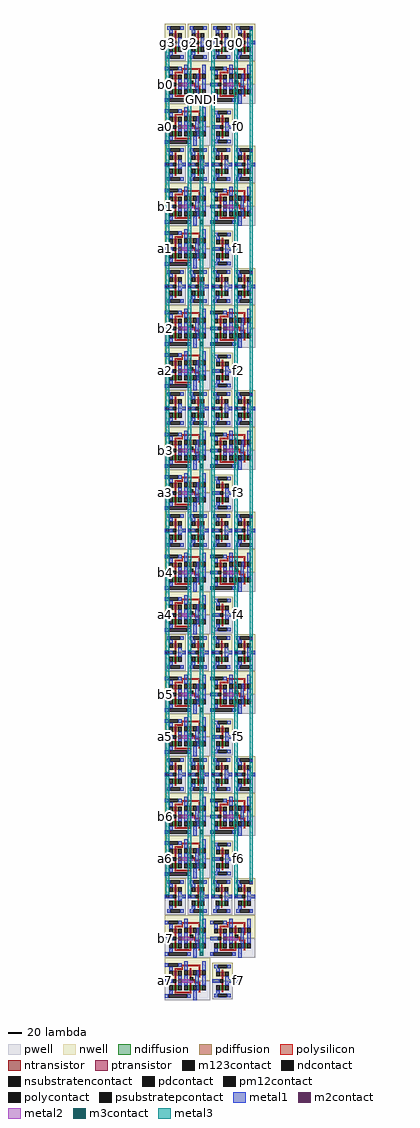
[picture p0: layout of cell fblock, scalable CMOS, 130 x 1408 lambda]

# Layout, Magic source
magic
tech scmos
<< metal1 >>
rect -80 -1137 -79 -1132
rect -80 -1198 -79 -1193
rect 18 -1198 28 -1193
rect -80 -1313 -79 -1308
rect -80 -1374 -79 -1369
rect 18 -1374 28 -1369
rect -80 -1489 -79 -1484
rect -80 -1550 -79 -1545
rect 18 -1550 28 -1545
rect -80 -1665 -79 -1660
rect -80 -1726 -79 -1721
rect 18 -1726 28 -1721
rect -80 -1841 -79 -1836
rect -80 -1902 -79 -1897
rect 18 -1902 28 -1897
rect -80 -2017 -79 -2012
rect -80 -2078 -79 -2073
rect 18 -2078 28 -2073
rect -80 -2193 -79 -2188
rect -80 -2254 -79 -2249
rect 18 -2254 28 -2249
rect -80 -2369 -79 -2364
rect -80 -2430 -79 -2425
rect 18 -2430 28 -2425
<< m3contact >>
rect -30 -1159 -25 -1154
rect -30 -1335 -25 -1330
rect -30 -1511 -25 -1506
rect -30 -1687 -25 -1682
rect -30 -1863 -25 -1858
rect -30 -2039 -25 -2034
rect -30 -2215 -25 -2210
rect -30 -2391 -25 -2386
<< m123contact >>
rect 42 -1056 47 -1051
rect -79 -1076 -74 -1071
rect -47 -1076 -42 -1071
rect -13 -1076 -8 -1071
rect 20 -1076 25 -1071
rect 42 -1232 47 -1227
rect -79 -1252 -74 -1247
rect -47 -1252 -42 -1247
rect -13 -1252 -8 -1247
rect 20 -1252 25 -1247
rect 42 -1408 47 -1403
rect -79 -1428 -74 -1423
rect -47 -1428 -42 -1423
rect -13 -1428 -8 -1423
rect 20 -1428 25 -1423
rect 42 -1584 47 -1579
rect -79 -1604 -74 -1599
rect -47 -1604 -42 -1599
rect -13 -1604 -8 -1599
rect 20 -1604 25 -1599
rect 42 -1760 47 -1755
rect -79 -1780 -74 -1775
rect -47 -1780 -42 -1775
rect -13 -1780 -8 -1775
rect 20 -1780 25 -1775
rect 42 -1936 47 -1931
rect -79 -1956 -74 -1951
rect -47 -1956 -42 -1951
rect -13 -1956 -8 -1951
rect 20 -1956 25 -1951
rect 42 -2112 47 -2107
rect -79 -2132 -74 -2127
rect -47 -2132 -42 -2127
rect -13 -2132 -8 -2127
rect 20 -2132 25 -2127
rect 42 -2288 47 -2283
rect -79 -2308 -74 -2303
rect -47 -2308 -42 -2303
rect -13 -2308 -8 -2303
rect 20 -2308 25 -2303
<< metal3 >>
rect -79 -1247 -74 -1076
rect -79 -1423 -74 -1252
rect -79 -1599 -74 -1428
rect -79 -1775 -74 -1604
rect -79 -1951 -74 -1780
rect -79 -2127 -74 -1956
rect -79 -2303 -74 -2132
rect -47 -1247 -42 -1076
rect -47 -1423 -42 -1252
rect -47 -1599 -42 -1428
rect -47 -1775 -42 -1604
rect -47 -1951 -42 -1780
rect -47 -2127 -42 -1956
rect -47 -2303 -42 -2132
rect -30 -1330 -25 -1159
rect -30 -1506 -25 -1335
rect -30 -1682 -25 -1511
rect -30 -1858 -25 -1687
rect -30 -2034 -25 -1863
rect -30 -2210 -25 -2039
rect -30 -2386 -25 -2215
rect -13 -1247 -8 -1076
rect -13 -1423 -8 -1252
rect -13 -1599 -8 -1428
rect -13 -1775 -8 -1604
rect -13 -1951 -8 -1780
rect -13 -2127 -8 -1956
rect -13 -2303 -8 -2132
rect 20 -1247 25 -1076
rect 20 -1423 25 -1252
rect 20 -1599 25 -1428
rect 20 -1775 25 -1604
rect 20 -1951 25 -1780
rect 20 -2127 25 -1956
rect 20 -2303 25 -2132
rect 42 -1227 47 -1056
rect 42 -1403 47 -1232
rect 42 -1579 47 -1408
rect 42 -1755 47 -1584
rect 42 -1931 47 -1760
rect 42 -2107 47 -1936
rect 42 -2283 47 -2112
use fblock_one  fblock_one_0
transform 1 0 -75 0 1 -1133
box -5 -90 125 86
use fblock_one  fblock_one_1
transform 1 0 -75 0 1 -1309
box -5 -90 125 86
use fblock_one  fblock_one_2
transform 1 0 -75 0 1 -1485
box -5 -90 125 86
use fblock_one  fblock_one_3
transform 1 0 -75 0 1 -1661
box -5 -90 125 86
use fblock_one  fblock_one_4
transform 1 0 -75 0 1 -1837
box -5 -90 125 86
use fblock_one  fblock_one_5
transform 1 0 -75 0 1 -2013
box -5 -90 125 86
use fblock_one  fblock_one_6
transform 1 0 -75 0 1 -2189
box -5 -90 125 86
use fblock_one  fblock_one_7
transform 1 0 -75 0 1 -2365
box -5 -90 125 86
<< labels >>
rlabel m123contact -79 -1076 -74 -1071 3 g3
rlabel m123contact -47 -1076 -42 -1071 1 g2
rlabel m123contact -13 -1076 -8 -1071 1 g1
rlabel m123contact 20 -1076 25 -1071 1 g0
rlabel m123contact 42 -1056 47 -1051 1 Vdd!
rlabel m3contact -30 -1159 -25 -1154 1 GND!
rlabel metal1 -80 -1137 -79 -1132 3 b0
rlabel metal1 -80 -1198 -79 -1193 3 a0
rlabel metal1 -80 -1374 -79 -1369 3 a1
rlabel metal1 -80 -1550 -79 -1545 3 a2
rlabel metal1 -80 -1726 -79 -1721 3 a3
rlabel metal1 -80 -2078 -79 -2073 3 a5
rlabel metal1 -80 -2254 -79 -2249 3 a6
rlabel metal1 -80 -2430 -79 -2425 3 a7
rlabel metal1 -80 -1902 -79 -1897 3 a4
rlabel metal1 -80 -1313 -79 -1308 3 b1
rlabel metal1 -80 -1489 -79 -1484 3 b2
rlabel metal1 -80 -1665 -79 -1660 3 b3
rlabel metal1 -80 -1841 -79 -1836 3 b4
rlabel metal1 -80 -2017 -79 -2012 3 b5
rlabel metal1 -80 -2193 -79 -2188 3 b6
rlabel metal1 -80 -2369 -79 -2364 3 b7
rlabel metal1 25 -1198 28 -1193 1 f0
rlabel metal1 25 -1374 28 -1369 1 f1
rlabel metal1 25 -1550 28 -1545 1 f2
rlabel metal1 25 -1726 28 -1721 1 f3
rlabel metal1 25 -1902 28 -1897 1 f4
rlabel metal1 25 -2078 28 -2073 1 f5
rlabel metal1 25 -2254 28 -2249 1 f6
rlabel metal1 25 -2430 28 -2425 1 f7
<< end >>

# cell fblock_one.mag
magic
tech scmos
use 2mux_nr  2mux_nr_2 /home/user
transform 0 -1 22 -1 0 -61
box -32 -38 29 27
use 2mux_nr  2mux_nr_0
transform 0 -1 22 -1 0 0
box -32 -38 29 27
use 2mux_nr  2mux_nr_1
transform 0 -1 87 -1 0 0
box -32 -38 29 27
use inv  inv_0 /home/user
transform 1 0 73 0 1 -76
box -10 -13 20 40
use inv  inv_2
transform 1 0 38 0 1 46
box -10 -13 20 40
use inv  inv_4
transform 1 0 105 0 1 46
box -10 -13 20 40
use inv  inv_1
transform 1 0 5 0 1 46
box -10 -13 20 40
use inv  inv_3
transform 1 0 72 0 1 46
box -10 -13 20 40
<< labels >>
rlabel metal1 0 59 0 59 3 g3
rlabel metal1 32 59 32 59 1 g2
rlabel metal1 66 60 66 60 1 g1
rlabel metal1 101 58 101 58 1 g0
rlabel metal1 91 -43 91 -43 1 f
rlabel metal1 -3 -63 -3 -63 3 a
rlabel metal1 -3 -3 -3 -3 3 b
rlabel metal1 32 38 32 38 1 GND!
rlabel metal1 25 80 25 80 1 Vdd!
<< end >>

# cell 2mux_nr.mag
magic
tech scmos
<< nwell >>
rect -32 -38 1 27
<< pwell >>
rect 1 -38 29 27
<< ntransistor >>
rect 8 11 15 13
rect 8 -11 15 -9
rect 8 -24 15 -22
<< ptransistor >>
rect -13 11 -6 13
rect -14 -11 -7 -9
rect -14 -24 -7 -22
<< ndiffusion >>
rect 8 13 15 16
rect 8 8 15 11
rect 8 -9 15 -6
rect 8 -14 15 -11
rect 8 -22 15 -19
rect 8 -27 15 -24
<< pdiffusion >>
rect -13 13 -6 16
rect -13 8 -6 11
rect -14 -9 -7 -6
rect -14 -14 -7 -11
rect -14 -22 -7 -19
rect -14 -27 -7 -24
<< ndcontact >>
rect 8 16 15 21
rect 8 3 15 8
rect 8 -6 15 -1
rect 8 -19 15 -14
rect 8 -32 15 -27
<< pdcontact >>
rect -13 16 -6 21
rect -13 3 -6 8
rect -14 -6 -7 -1
rect -14 -19 -7 -14
rect -14 -32 -7 -27
<< psubstratepcontact >>
rect 21 -5 26 22
<< nsubstratencontact >>
rect -24 8 -19 22
<< polysilicon >>
rect -17 11 -13 13
rect -6 11 -1 13
rect 4 11 8 13
rect 15 11 19 13
rect -17 3 -15 11
rect -22 1 -15 3
rect -22 -22 -20 1
rect 17 -9 19 11
rect -17 -11 -14 -9
rect -7 -11 -4 -9
rect 5 -11 8 -9
rect 15 -11 19 -9
rect -1 -15 1 -14
rect -1 -17 5 -15
rect 3 -22 5 -17
rect -22 -24 -14 -22
rect -7 -24 -4 -22
rect 3 -24 8 -22
rect 15 -24 18 -22
<< polycontact >>
rect -1 11 4 16
<< metal1 >>
rect -24 22 -19 27
rect -19 16 -13 21
rect -1 16 4 27
rect 21 22 26 27
rect 15 16 21 21
rect -24 3 -19 8
rect -6 3 -1 8
rect 4 3 8 8
rect -27 -6 -14 -1
rect -7 -6 8 -1
rect 21 -10 26 -5
rect -7 -19 8 -17
rect 15 -19 29 -14
rect -14 -22 15 -19
rect -27 -32 -14 -27
rect -7 -32 8 -27
<< m2contact >>
rect -1 3 4 8
<< pm12contact >>
rect -4 -14 1 -9
<< metal2 >>
rect -1 -9 4 3
rect 1 -14 4 -9
<< labels >>
rlabel metal1 -1 27 4 27 5 s
rlabel metal1 21 27 26 27 5 GND!
rlabel metal1 29 -19 29 -14 7 out
rlabel metal1 -24 27 -19 27 5 Vdd!
rlabel metal1 -27 -6 -27 -1 3 in1
rlabel metal1 -27 -32 -27 -27 3 in0
<< end >>

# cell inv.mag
magic
tech scmos
<< nwell >>
rect -10 14 20 40
<< pwell >>
rect -10 -13 20 13
<< ntransistor >>
rect 4 0 6 7
<< ptransistor >>
rect 4 20 6 27
<< ndiffusion >>
rect 1 0 4 7
rect 6 0 9 7
<< pdiffusion >>
rect 1 20 4 27
rect 6 20 9 27
<< ndcontact >>
rect -4 0 1 7
rect 9 0 14 7
<< pdcontact >>
rect -4 20 1 27
rect 9 20 14 27
<< psubstratepcontact >>
rect -2 -10 12 -5
<< nsubstratencontact >>
rect -2 32 12 37
<< polysilicon >>
rect 4 27 6 30
rect 4 16 6 20
rect 4 7 6 11
rect 4 -3 6 0
<< polycontact >>
rect 1 11 6 16
<< metal1 >>
rect -7 32 -2 37
rect 12 32 17 37
rect -4 27 1 32
rect 9 16 14 20
rect -10 11 1 16
rect 9 11 20 16
rect 9 7 14 11
rect -4 -5 1 0
rect -7 -10 -2 -5
rect 12 -10 17 -5
<< labels >>
rlabel metal1 -10 11 -10 16 3 in
rlabel metal1 20 11 20 16 7 out
rlabel metal1 -5 34 -5 34 3 Vdd!
rlabel metal1 -5 -7 -5 -7 3 GND!
<< end >>
